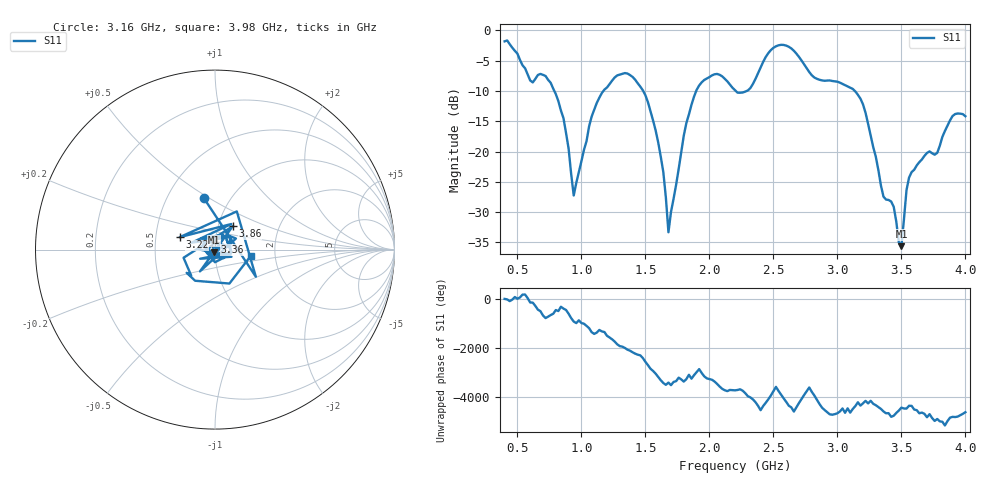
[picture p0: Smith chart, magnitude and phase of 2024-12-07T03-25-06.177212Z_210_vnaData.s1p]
!Created with skrf (http://scikit-rf.org).
# Hz S RI R 50.0
!freq ReS11 ImS11
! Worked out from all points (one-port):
!   181 points, 400 MHz to 4 GHz, reference 50 ohm
!   lowest |S11| = -35.6 dB at 3.5 GHz (marker M1), VSWR 1.03, Z = 49.3 - j1.46 ohm
!   |S11| at or under -10 dB: 788.4 MHz to 1.172 GHz (383.3 MHz wide, 39.1 % of centre); 1.483 GHz to 1.897 GHz (414.2 MHz wide, 24.5 % of centre); 3.136 GHz to end of sweep (the widest 3 of 4)
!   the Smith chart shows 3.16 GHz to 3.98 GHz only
!   S11 on the Smith chart (normalised r, x): 3.16 GHz: 0.75, +0.47; 3.22 GHz: 0.67, +0.10; 3.36 GHz: 1.00, +0.08; 3.86 GHz: 1.17, +0.31; 3.98 GHz: 1.50, -0.10
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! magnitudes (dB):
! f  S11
! 400 MHz  -1.8
! 600 MHz  -8.3
! 720 MHz  -7.5
! 860 MHz  -14.5
! 940 MHz  -27.3
! 1.12 GHz  -12.0
! 1.3 GHz  -7.3
! 1.52 GHz  -11.9
! 1.64 GHz  -23.4
! 1.68 GHz  -33.3
! 1.76 GHz  -22.9
! 1.82 GHz  -15.3
! 1.92 GHz  -9.1
! 2.06 GHz  -7.2
! 2.2 GHz  -9.9
! 2.32 GHz  -9.5
! 2.5 GHz  -2.9
! 2.66 GHz  -3.4
! 3.1 GHz  -9.5
! 3.16 GHz  -10.6
! 3.22 GHz  -13.6
! 3.36 GHz  -27.5
! 3.44 GHz  -29.1
! 3.5 GHz  -35.6
! 3.56 GHz  -24.3
! 3.86 GHz  -15.7
! 3.98 GHz  -13.8
! 4 GHz  -14.2
